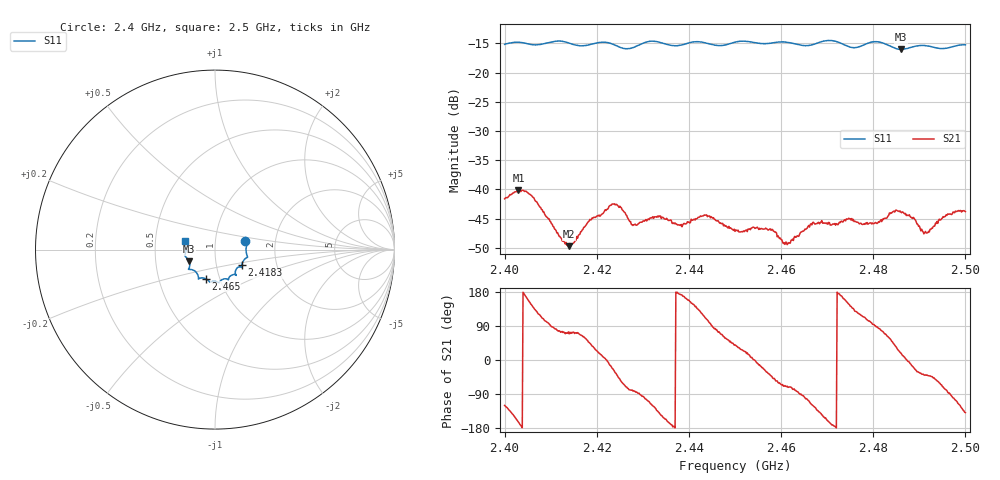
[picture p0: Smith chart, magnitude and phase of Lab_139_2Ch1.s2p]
# Hz S RI R 50
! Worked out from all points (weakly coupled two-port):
!   601 points, 2.4 GHz to 2.5 GHz, reference 50 ohm
!   highest |S21| = -40.09 dB at 2.403 GHz (marker M1); lowest = -49.7 dB at 2.414 GHz (marker M2)
!   lowest |S11| = -16.0 dB at 2.486 GHz (marker M3), VSWR 1.38, Z = 37.1 - j4.99 ohm
!   |S11| at or under -10 dB: start of sweep to end of sweep
!   S12 and S22 are empty: the file has one direction only
!   S11 on the Smith chart (normalised r, x): 2.4 GHz: 1.40, +0.13; 2.4183 GHz: 1.33, -0.24; 2.465 GHz: 0.86, -0.29; 2.5 GHz: 0.71, +0.07
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2.4e9  0.1689 0.0454  -0.00415 -0.0072  0 0  0 0
2.403e9  0.1794 0.0323  -0.00948 -0.00286  0 0  0 0
2.406e9  0.1735 0.00906  -0.00693 0.00526  0 0  0 0
2.414e9  0.1725 -0.0474  0.00117 0.00305  0 0  0 0
2.416667e9  0.1551 -0.0686  0.00184 0.00396  0 0  0 0
2.418333e9  0.1498 -0.0872  0.0037 0.00387  0 0  0 0
2.423833e9  0.1437 -0.0964  0.00656 -0.00372  0 0  0 0
2.428e9  0.1138 -0.1187  0.000792 -0.00492  0 0  0 0
2.433333e9  0.1166 -0.1414  -0.00425 -0.00398  0 0  0 0
2.438e9  0.0822 -0.15  -0.00491 0.000561  0 0  0 0
2.443833e9  0.0689 -0.1649  -0.00183 0.00578  0 0  0 0
2.45e9  0.0252 -0.1807  0.00336 0.00281  0 0  0 0
2.457833e9  -0.0166 -0.1782  0.00333 -0.00298  0 0  0 0
2.461e9  -0.0304 -0.1803  0.00126 -0.00331  0 0  0 0
2.465e9  -0.0526 -0.1621  -0.000539 -0.00441  0 0  0 0
2.466667e9  -0.0712 -0.1575  -0.00232 -0.0044  0 0  0 0
2.4805e9  -0.1477 -0.1099  -2.57e-05 0.00522  0 0  0 0
2.483333e9  -0.1419 -0.0959  0.00301 0.00518  0 0  0 0
2.486e9  -0.1439 -0.0655  0.00607 0.002  0 0  0 0
2.491333e9  -0.1675 -0.0314  0.00339 -0.00277  0 0  0 0
2.495667e9  -0.1609 0.0126  0.00125 -0.00575  0 0  0 0
2.5e9  -0.1666 0.0473  -0.00486 -0.00426  0 0  0 0
